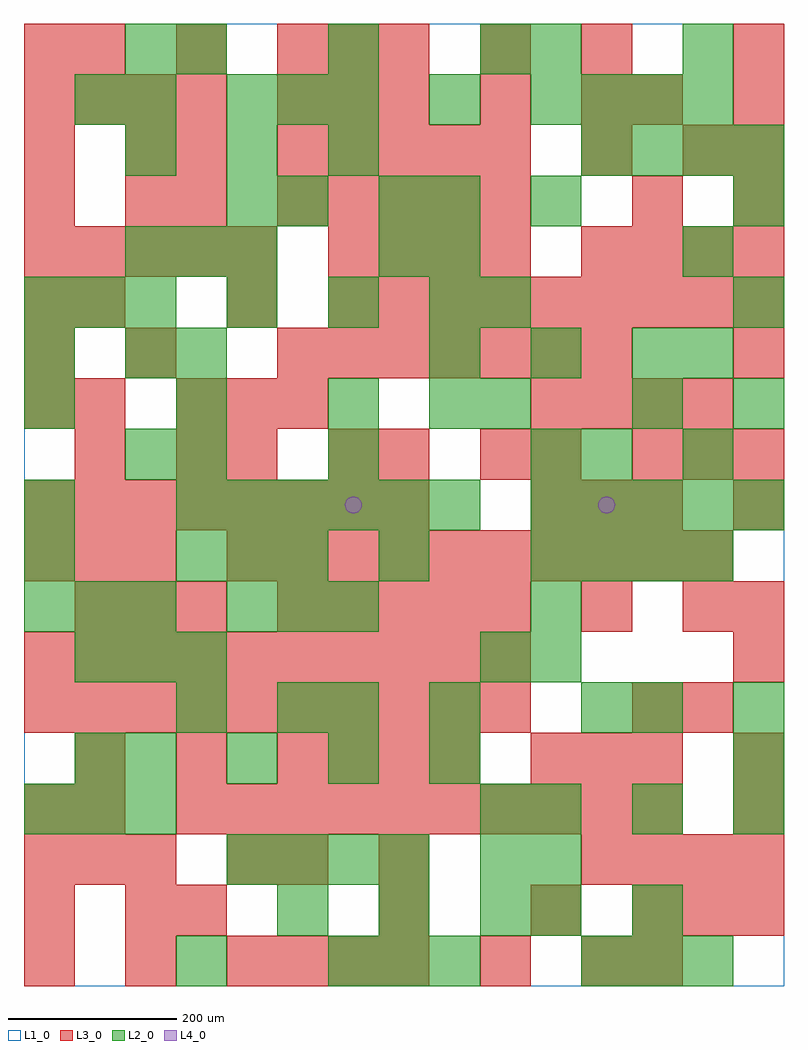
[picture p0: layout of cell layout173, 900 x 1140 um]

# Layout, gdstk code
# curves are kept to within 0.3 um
import gdstk
lib = gdstk.Library(unit=1e-6, precision=1e-09)
def R(c, l, rs):  # rectangles x0, y0, x1, y1
    for r in rs: c.add(gdstk.rectangle(r[:2], r[2:], *l))
def A(c, l, x, y, w, h, nx, ny, dx, dy):  # array of equal rectangles
    R(c, l, [(x+i*dx, y+j*dy, x+i*dx+w, y+j*dy+h) for i in range(nx) for j in range(ny)])
def P(c, l, *ps):  # polygons
    for p in ps: c.add(gdstk.Polygon(p, *l))
L1_0 = (1, 0)
L2_0 = (2, 0)
L3_0 = (3, 0)
L4_0 = (4, 0)

layout173 = lib.new_cell('layout173')
R(layout173, L1_0, [(0,0,900,1140)])
A(layout173, L2_0, 180, 0, 60, 60, 1, 3, 0, 300)
A(layout173, L2_0, 360, 0, 60, 60, 3, 1, 60, 0)
A(layout173, L2_0, 660, 0, 60, 60, 3, 1, 60, 0)
A(layout173, L2_0, 300, 60, 60, 60, 3, 1, 120, 0)
A(layout173, L2_0, 240, 120, 60, 60, 4, 1, 60, 0)
A(layout173, L2_0, 0, 180, 60, 60, 3, 2, 60, 240)
A(layout173, L2_0, 600, 180, 60, 60, 3, 1, 120, 0)
A(layout173, L2_0, 120, 240, 60, 60, 4, 1, 120, 0)
A(layout173, L2_0, 60, 360, 60, 60, 3, 1, 60, 0)
A(layout173, L2_0, 240, 420, 60, 60, 3, 2, 60, 600)
A(layout173, L2_0, 180, 480, 60, 60, 3, 1, 60, 0)
A(layout173, L2_0, 600, 480, 60, 60, 4, 2, 60, 540)
A(layout173, L2_0, 180, 540, 60, 60, 6, 1, 60, 0)
A(layout173, L2_0, 600, 540, 60, 60, 5, 1, 60, 0)
A(layout173, L2_0, 780, 600, 60, 60, 1, 3, 0, 120)
A(layout173, L2_0, 0, 660, 60, 60, 3, 1, 180, 0)
A(layout173, L2_0, 840, 660, 60, 60, 1, 3, 0, 120)
A(layout173, L2_0, 480, 720, 60, 60, 3, 1, 120, 0)
A(layout173, L2_0, 0, 780, 60, 60, 3, 1, 60, 0)
A(layout173, L2_0, 240, 780, 60, 60, 3, 1, 120, 0)
A(layout173, L2_0, 120, 840, 60, 60, 3, 1, 60, 0)
A(layout173, L2_0, 120, 960, 60, 60, 3, 1, 120, 0)
A(layout173, L2_0, 660, 960, 60, 60, 4, 1, 60, 0)
A(layout173, L2_0, 180, 1080, 60, 60, 3, 1, 180, 0)
R(layout173, L2_0, [(600,60,660,120), (720,60,780,120), (540,120,600,180), (600,120,660,180), (540,180,600,240), (60,240,120,300), (840,240,900,300), (300,300,360,360), (360,300,420,360), (480,300,540,360), (660,300,720,360), (720,300,780,360), (840,300,900,360), (540,360,600,420), (600,360,660,420), (600,420,660,480), (0,480,60,540), (420,480,480,540), (0,540,60,600), (120,600,180,660), (360,600,420,660), (600,600,660,660), (660,600,720,660), (480,660,540,720), (540,660,600,720), (720,660,780,720), (0,720,60,780), (120,720,180,780), (180,720,240,780), (540,780,600,840), (420,840,480,900), (480,840,540,900), (240,900,300,960), (300,900,360,960), (420,900,480,960), (480,900,540,960), (600,900,660,960), (60,1020,120,1080), (120,1020,180,1080), (480,1020,540,1080), (120,1080,180,1140), (600,1080,660,1140), (780,1080,840,1140)])
A(layout173, L3_0, 0, 0, 60, 60, 3, 1, 120, 0)
A(layout173, L3_0, 300, 0, 60, 60, 3, 2, 60, 1020)
A(layout173, L3_0, 720, 60, 60, 60, 3, 2, 60, 540)
A(layout173, L3_0, 0, 120, 60, 60, 3, 2, 60, 360)
A(layout173, L3_0, 660, 120, 60, 60, 4, 2, 60, 720)
A(layout173, L3_0, 180, 180, 60, 60, 10, 1, 60, 0)
A(layout173, L3_0, 60, 240, 60, 60, 3, 2, 120, 840)
A(layout173, L3_0, 360, 240, 60, 60, 3, 1, 60, 0)
A(layout173, L3_0, 600, 240, 60, 60, 3, 2, 60, 300)
A(layout173, L3_0, 0, 300, 60, 60, 10, 2, 60, 60)
A(layout173, L3_0, 60, 420, 60, 60, 3, 1, 60, 0)
A(layout173, L3_0, 300, 420, 60, 60, 5, 2, 60, 480)
A(layout173, L3_0, 240, 480, 60, 60, 10, 1, 60, 0)
A(layout173, L3_0, 0, 540, 60, 60, 8, 1, 60, 0)
A(layout173, L3_0, 840, 540, 60, 60, 1, 3, 0, 180)
A(layout173, L3_0, 0, 660, 60, 60, 1, 3, 0, 60)
A(layout173, L3_0, 180, 660, 60, 60, 3, 1, 60, 0)
A(layout173, L3_0, 600, 660, 60, 60, 4, 1, 60, 0)
A(layout173, L3_0, 300, 720, 60, 60, 7, 1, 60, 0)
A(layout173, L3_0, 360, 780, 60, 60, 9, 1, 60, 0)
A(layout173, L3_0, 0, 840, 60, 60, 5, 1, 60, 0)
A(layout173, L3_0, 360, 840, 60, 60, 4, 1, 60, 0)
A(layout173, L3_0, 300, 960, 60, 60, 5, 1, 60, 0)
A(layout173, L3_0, 840, 960, 60, 60, 1, 3, 0, 60)
A(layout173, L3_0, 0, 1020, 60, 60, 4, 1, 60, 0)
A(layout173, L3_0, 420, 1080, 60, 60, 3, 1, 120, 0)
R(layout173, L3_0, [(540,0,600,60), (660,0,720,60), (720,0,780,60), (0,60,60,120), (120,60,180,120), (180,60,240,120), (420,60,480,120), (600,60,660,120), (240,120,300,180), (300,120,360,180), (420,120,480,180), (0,180,60,240), (60,180,120,240), (840,180,900,240), (840,240,900,300), (720,300,780,360), (780,300,840,360), (840,360,900,420), (660,420,720,480), (780,420,840,480), (840,420,900,480), (60,600,120,660), (180,600,240,660), (240,600,300,660), (360,600,420,660), (420,600,480,660), (540,600,600,660), (600,600,660,660), (60,660,120,720), (120,720,180,780), (60,780,120,840), (240,780,300,840), (0,900,60,960), (120,900,180,960), (180,900,240,960), (720,900,780,960), (0,960,60,1020), (120,960,180,1020), (180,960,240,1020), (660,960,720,1020), (780,960,840,1020), (540,1020,600,1080), (660,1020,720,1080), (720,1020,780,1080), (0,1080,60,1140), (360,1080,420,1140)])
P(layout173, L4_0, [(400,570),(399.239,573.827),(397.071,577.071),(393.827,579.239),(390,580),(386.173,579.239),(382.929,577.071),(380.761,573.827),(380,570),(380.761,566.173),(382.929,562.929),(386.173,560.761),(390,560),(393.827,560.761),(397.071,562.929),(399.239,566.173)],
  [(700,570),(699.239,573.827),(697.071,577.071),(693.827,579.239),(690,580),(686.173,579.239),(682.929,577.071),(680.761,573.827),(680,570),(680.761,566.173),(682.929,562.929),(686.173,560.761),(690,560),(693.827,560.761),(697.071,562.929),(699.239,566.173)])

lib.write_gds('layout173.gds')
